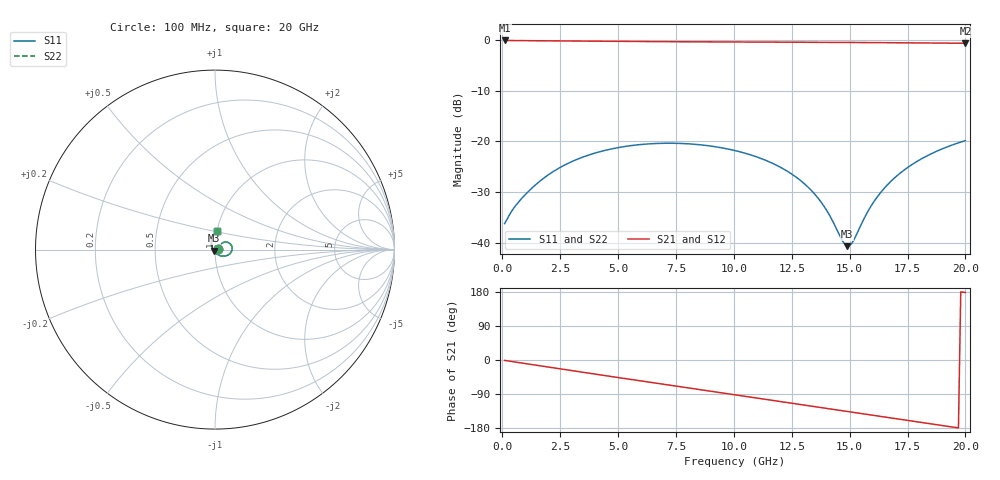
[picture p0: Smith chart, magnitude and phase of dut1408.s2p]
! Touchstone file exported from HFSS 2026.1.0
!  File:  C:/ffzhzh/LocalFiles/Ansys_Project_Files/temp_train_TSV_RDL_1408_1783352718_48288.aedt
!  Generated:  11:51:03 PM Jul  6, 2026
!  Design:  TSV_RDL
!  Project:  temp_train_TSV_RDL_1408_1783352718_48288
! Variables:
!  h_bsmrdl = 4.19um
!  h_ox = 20um
!  h_rdl = 5um
!  h_sub = 57.9um
!  h_tmrdl = 4.73um
!  h_tsv = 57.9um
!  h_via = 3um
!  l_bsmrdl = 283.94um
!  l_sub = 2761.98um
!  l_tmrdl = 358.34um
!  m_sub = 200um
!  pitch = 22.77um
!  r_tsv = 10.12um
!  s_tmrdl = 10um
!  w_bsmrdl = 12.09um
!  w_sub = 500um
!  w_tmrdl = 13.51um
!  x_tsv_center1 = 365.095um
!  x_tsv_center2 = 661.125um
!  x_tsv_center3 = 1032.975um
!  x_tsv_center4 = 1329.005um
!  x_tsv_center5 = 1700.855um
!  x_tsv_center6 = 1996.885um
# GHz S MA R 50.000000
! Terminal data exported
! Port[1] = TM_RDL1_1_T1
! Port[2] = TM_RDL5_1_T1
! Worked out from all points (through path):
!   200 points, 100 MHz to 20 GHz, reference 50 ohm
!   highest |S21| = -0.13 dB at 100 MHz (marker M1); lowest = -0.7 dB at 20 GHz (marker M2)
!   group delay of S21, straight-line fit = 25.2 ps
!   lowest |S11| = -40.6 dB at 14.9 GHz (marker M3), VSWR 1.02, Z = 49.3 - j0.555 ohm
!   |S11| at or under -10 dB: start of sweep to end of sweep
!   |S22| runs from -40.6 to -19.8 dB; largest |S21 - S12| = 1.2e-13
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0.1  0.01559 11.1  0.9847 -1.0  0.9847 -1.0  0.01559 11.1
! Gamma 0 0 0 0
! Port Impedance 50 0 50 0
0.6  0.02378 33.5  0.9815 -5.8  0.9815 -5.8  0.02378 33.5
1.5  0.03859 43.3  0.9785 -14.1  0.9785 -14.1  0.03859 43.3
2.4  0.05392 42.5  0.9754 -22.5  0.9754 -22.5  0.05392 42.5
3.5  0.07053 36.2  0.971 -32.6  0.971 -32.6  0.07054 36.2
5  0.08698 24.7  0.9649 -46.3  0.9649 -46.3  0.08699 24.6
6.8  0.09583 9.3  0.9587 -62.6  0.9587 -62.6  0.09584 9.3
8.5  0.093 -5.8  0.9542 -77.9  0.9542 -77.9  0.09301 -5.8
10.1  0.08086 -20.7  0.9511 -92.3  0.9511 -92.3  0.08087 -20.8
11.1  0.06902 -30.7  0.9494 -101.3  0.9494 -101.3  0.06904 -30.7
12  0.05594 -40.4  0.9478 -109.5  0.9478 -109.5  0.05596 -40.5
12.8  0.0427 -50.5  0.9464 -116.7  0.9464 -116.7  0.04272 -50.5
13.4  0.03203 -60.1  0.9452 -122.2  0.9452 -122.2  0.03205 -60.1
14  0.02115 -74.6  0.9439 -127.6  0.9439 -127.6  0.02117 -74.7
14.7  0.01046 -117.7  0.9422 -134.0  0.9422 -134.0  0.01048 -117.7
14.9  0.009341 -142.9  0.9416 -135.8  0.9416 -135.8  0.009357 -142.9
15.1  0.01 -169.4  0.9411 -137.6  0.9411 -137.6  0.01001 -169.4
16  0.02462 136.1  0.9385 -145.8  0.9385 -145.8  0.02461 136.1
16.7  0.03888 121.5  0.9363 -152.1  0.9363 -152.1  0.03887 121.5
17.3  0.05126 112.9  0.9342 -157.6  0.9342 -157.6  0.05125 112.8
18.1  0.06743 103.3  0.9313 -164.8  0.9313 -164.8  0.06743 103.2
20  0.1019 83.9  0.9243 178.1  0.9243 178.1  0.1019 83.8
